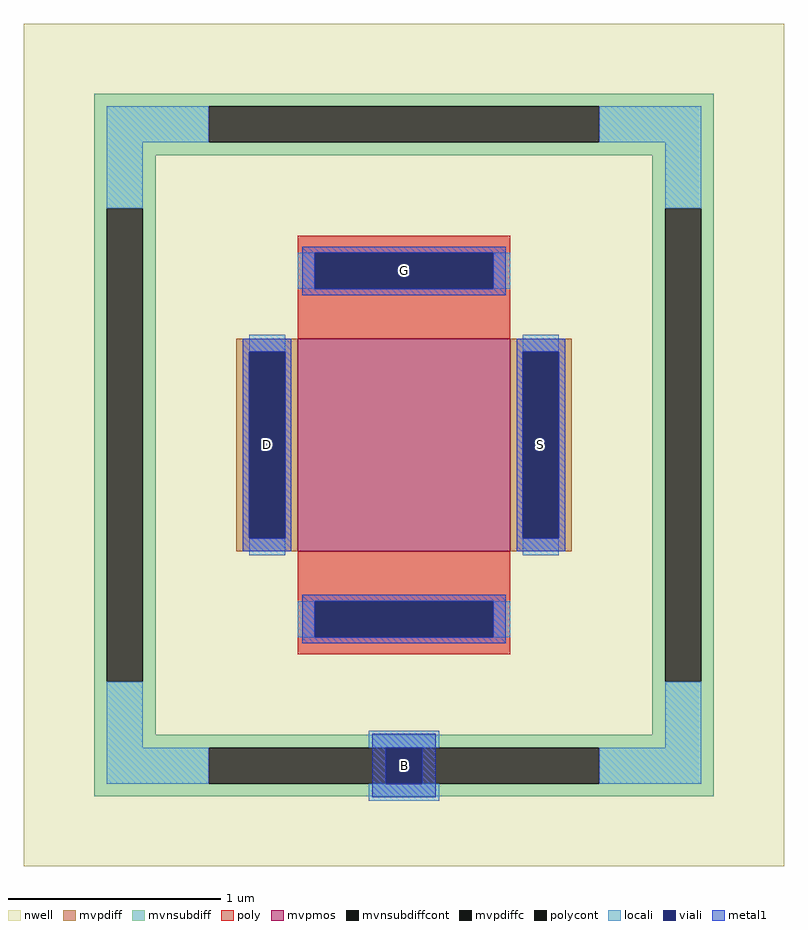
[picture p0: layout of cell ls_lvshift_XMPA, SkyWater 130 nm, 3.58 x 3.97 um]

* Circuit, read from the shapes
.subckt ls_lvshift_XMPA B D S G
XM1 S G D B sky130_fd_pr__pfet_g5v0d10v5 w=1 l=1
.ends

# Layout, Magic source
magic
tech sky130A
magscale 1 2
<< nwell >>
rect -358 -397 358 397
<< mvpmos >>
rect -100 -100 100 100
<< mvpdiff >>
rect -158 88 -100 100
rect -158 -88 -146 88
rect -112 -88 -100 88
rect -158 -100 -100 -88
rect 100 88 158 100
rect 100 -88 112 88
rect 146 -88 158 88
rect 100 -100 158 -88
<< mvpdiffc >>
rect -146 -88 -112 88
rect 112 -88 146 88
<< mvnsubdiff >>
rect -292 319 292 331
rect -292 285 -184 319
rect 184 285 292 319
rect -292 273 292 285
rect -292 223 -234 273
rect -292 -223 -280 223
rect -246 -223 -234 223
rect 234 223 292 273
rect -292 -273 -234 -223
rect 234 -223 246 223
rect 280 -223 292 223
rect 234 -273 292 -223
rect -292 -285 292 -273
rect -292 -319 -184 -285
rect 184 -319 292 -285
rect -292 -331 292 -319
<< mvnsubdiffcont >>
rect -184 285 184 319
rect -280 -223 -246 223
rect 246 -223 280 223
rect -184 -319 184 -285
<< poly >>
rect -100 181 100 197
rect -100 147 -84 181
rect 84 147 100 181
rect -100 100 100 147
rect -100 -147 100 -100
rect -100 -181 -84 -147
rect 84 -181 100 -147
rect -100 -197 100 -181
<< polycont >>
rect -84 147 84 181
rect -84 -181 84 -147
<< locali >>
rect -280 285 -184 319
rect 184 285 280 319
rect -280 223 -246 285
rect 246 223 280 285
rect -100 147 -84 181
rect 84 147 100 181
rect -146 88 -112 104
rect -146 -104 -112 -88
rect 112 88 146 104
rect 112 -104 146 -88
rect -100 -181 -84 -147
rect 84 -181 100 -147
rect -280 -285 -246 -223
rect -33 -285 33 -269
rect 246 -285 280 -223
rect -280 -319 -184 -285
rect 184 -319 280 -285
rect -33 -335 33 -319
<< viali >>
rect -84 147 84 181
rect -146 -88 -112 88
rect 112 -88 146 88
rect -84 -181 84 -147
rect -17 -319 17 -285
<< metal1 >>
rect -96 181 96 187
rect -96 147 -84 181
rect 84 147 96 181
rect -96 141 96 147
rect -152 88 -106 100
rect -152 -88 -146 88
rect -112 -88 -106 88
rect -152 -100 -106 -88
rect 106 88 152 100
rect 106 -88 112 88
rect 146 -88 152 88
rect 106 -100 152 -88
rect -96 -147 96 -141
rect -96 -181 -84 -147
rect 84 -181 96 -147
rect -96 -187 96 -181
rect -30 -285 30 -272
rect -30 -319 -17 -285
rect 17 -319 30 -285
rect -30 -332 30 -319
<< labels >>
rlabel mvnsubdiffcont 0 -302 0 -302 0 B
port 4 nsew
rlabel mvpdiffc -129 0 -129 0 0 D
port 5 nsew
rlabel mvpdiffc 129 0 129 0 0 S
port 6 nsew
rlabel polycont 0 164 0 164 0 G
port 7 nsew
<< properties >>
string FIXED_BBOX -263 -302 263 302
<< end >>
